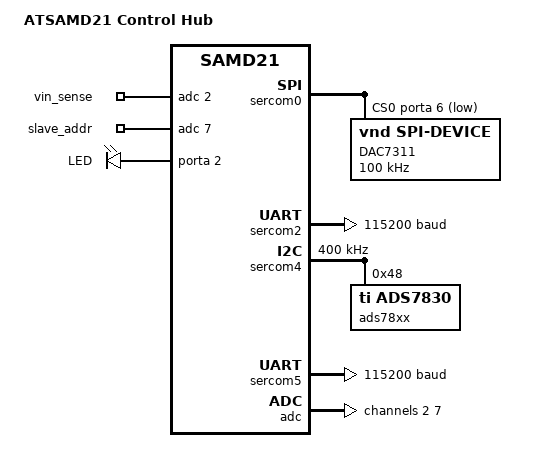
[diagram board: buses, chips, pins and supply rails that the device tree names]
/*
 * Copyright (c) 2020 Google LLC.
 *
 * SPDX-License-Identifier: Apache-2.0
 */

/dts-v1/;
#include <atmel/samd21.dtsi>
#include <atmel/samx2xx18.dtsi>
#include "atsamd21_control_hub_pinctrl.dtsi"

/ {
	model = "ATSAMD21 Control Hub";
	compatible = "atsamd21,atsamd21_control_hub";

	chosen {
		zephyr,console = &sercom5;
		zephyr,shell-uart = &sercom5;
		zephyr,sram = &sram0;
		zephyr,flash = &flash0;
		zephyr,code-partition = &code_partition;
	};

	zephyr,user {
		io-channels = <&adc 2>, <&adc 7>;
		io-channel-names = "vin_sense", "slave_addr";
	};

	/* Define the inboard leds */
	leds {
		compatible = "gpio-leds";
		led: led_0 {
			gpios = <&porta 2 GPIO_ACTIVE_HIGH>;
			label = "LED";
		};
	};

	/* Define the RS-485 enable GPIOs */
	rs485_en {
		compatible = "gpio-rs485-en";
		rs485_en: rs485_en {
			gpios = <&porta 10 GPIO_ACTIVE_HIGH>;
			label = "RS485_EN";
		};
	};

	/* Define Inputs */
	hub_inputs {
		compatible = "gpio-generic";
		exp_pgood: exp_pgood {
			gpios = <&porta 11 GPIO_PULL_UP>;
			label = "EXT_PGOOD";
		};

		d1: d1 {
			gpios = <&porta 14 GPIO_PULL_UP>;
			label = "D1";
		};

		d2: d2 {
			gpios = <&porta 15 GPIO_PULL_UP>;
			label = "D2";
		};

		d3: d3 {
			gpios = <&porta 16 GPIO_PULL_UP>;
			label = "D3";
		};

		d4: d4 {
			gpios = <&porta 17 GPIO_PULL_UP>;
			label = "D4";
		};

		d5: d5 {
			gpios = <&porta 18 GPIO_PULL_UP>;
			label = "D5";
		};

		d6: d6 {
			gpios = <&porta 19 GPIO_PULL_UP>;
			label = "D6";
		};

		d7: d7 {
			gpios = <&porta 20 GPIO_PULL_UP>;
			label = "D7";
		};

		d8: d8 {
			gpios = <&porta 21 GPIO_PULL_UP>;
			label = "D8";
		};

		d9: d9 {
			gpios = <&porta 22 GPIO_PULL_UP>;
			label = "D9";
		};

		d10: d10 {
			gpios = <&porta 23 GPIO_PULL_UP>;
			label = "D10";
		};

		d11: d11 {
			gpios = <&porta 24 GPIO_PULL_UP>;
			label = "D11";
		};

		d12: d12 {
			gpios = <&porta 25 GPIO_PULL_UP>;
			label = "D12";
		};
	};

	/* Define Outputs */
	hub_outputs {
		compatible = "gpio-generic";
		relay1: relay1 {
			gpios = <&portb 9 GPIO_ACTIVE_HIGH>;
			label = "relay1";
		};

		relay2: relay2 {
			gpios = <&portb 10 GPIO_ACTIVE_HIGH>;
			label = "relay2";
		};

		relay3: relay3 {
			gpios = <&portb 11 GPIO_ACTIVE_HIGH>;
			label = "relay3";
		};
	};

	shift_register {
		compatible = "gpio-generic";
		/* Define control pins for the TPIC6B595DWR */
		srck: srck {
			gpios = <&portb 22 GPIO_ACTIVE_HIGH>;
			label = "TPIC6B595_SRCK";
		};
		rck: rck {
			gpios = <&portb 23 GPIO_ACTIVE_HIGH>;
			label = "TPIC6B595_RCK";
		};
		serout: serout {
			gpios = <&porta 27 GPIO_ACTIVE_HIGH>;
			label = "TPIC6B595_SEROUT";
		};
		oe: oe {
			gpios = <&porta 28 GPIO_ACTIVE_HIGH>;
			label = "TPIC6B595_OE";
		};
	};

	/* PWM PULSED PA03 */
	/* SLAVE ADDR ADC PA07 */
	/* VIN SENSE ADC PB08 */

	aliases {
		led0 = &led;
		rs485-uart = &sercom2;
	};
};

&cpu0 {
	clock-frequency = <48000000>;
};

/* dopo = 0x0 MOSI: PAD[0] SCK: PAD[1] */
/* dipo = 0x3 MISO: PAD[3] - not used - */
&sercom0 {
	status = "okay";
	compatible = "atmel,sam0-spi";
	dopo = <0>;
	dipo = <0>; // Repeat pad[0] for compiling errors
	#address-cells = <1>;
	#size-cells = <0>;
	pinctrl-0 = <&sercom0_spi_default>;
	pinctrl-names = "default";
	cs-gpios = <&porta 6 GPIO_ACTIVE_LOW>;

	dac7311: dac7311@0 {
		compatible = "vnd,spi-device";
		reg = <0>;
		spi-max-frequency = <100000>;
		label = "DAC7311";
	};
};

&sercom2 {
	status = "okay";
	compatible = "atmel,sam0-uart";
	current-speed = <115200>;
	rxpo = <1>;
	txpo = <0>;

	pinctrl-0 = <&sercom2_rs485_default>;
	pinctrl-names = "default";
};

&sercom4 {
	status = "okay";
	compatible = "atmel,sam0-i2c";
	clock-frequency = <I2C_BITRATE_FAST>;
	#address-cells = <1>;
	#size-cells = <0>;
	pinctrl-0 = <&sercom4_i2c_default>;
	pinctrl-names = "default";

	ads78xx: ads78xx@48 {
		compatible = "ti,ads7830";
		reg = <0x48>;
	};
};

&sercom5 {
	status = "okay";
	compatible = "atmel,sam0-uart";
	current-speed = <115200>;
	rxpo = <1>;
	txpo = <0>;

	pinctrl-0 = <&sercom5_uart_default>;
	pinctrl-names = "default";
};

zephyr_udc0: &usb0 {
	status = "disabled";
};

&dac0 {
	status = "disabled";
	pinctrl-0 = <&dac_default>;
	pinctrl-names = "default";
};

&adc {
	status = "okay";
	#address-cells = <1>;
	#size-cells = <0>;
	pinctrl-0 = <&adc0_adc>;
	pinctrl-names = "default";

	channel@2 {
		reg = <2>;
		zephyr,gain = "ADC_GAIN_1_2";
		zephyr,reference = "ADC_REF_VDD_1_2";
		zephyr,acquisition-time = <ADC_ACQ_TIME_DEFAULT>;
		zephyr,resolution = <12>;
		zephyr,input-positive = <2>;
		zephyr,vref-mv = <1650>;
	};

	channel@7 {
		reg = <7>;
		zephyr,gain = "ADC_GAIN_1_2";
		zephyr,reference = "ADC_REF_VDD_1_2";
		zephyr,acquisition-time = <ADC_ACQ_TIME_DEFAULT>;
		zephyr,resolution = <12>;
		zephyr,input-positive = <7>;
		zephyr,vref-mv = <1650>;
	};
};

&flash0 {
	partitions {
		compatible = "fixed-partitions";
		#address-cells = <1>;
		#size-cells = <1>;

		code_partition: partition@0 {
			label = "code";
			reg = <0x00000000 DT_SIZE_K(240)>; /* Full flash minus storage */
		};

		storage_partition: partition@3c000 {
			label = "storage";
			reg = <0x0003c000 DT_SIZE_K(16)>;
		};
	};
};
